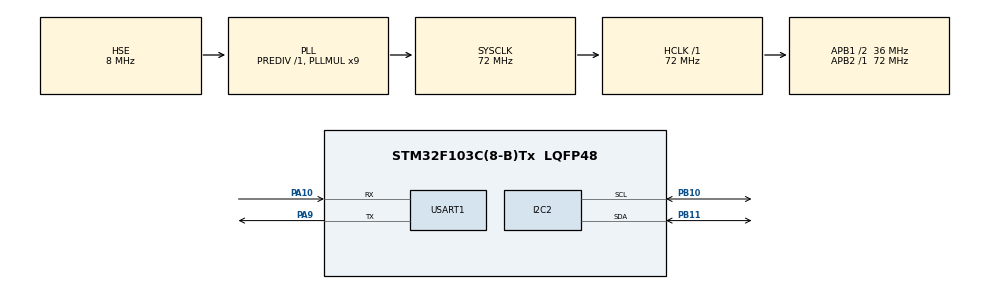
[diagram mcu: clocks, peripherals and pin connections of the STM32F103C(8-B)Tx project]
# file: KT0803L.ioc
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Mcu.Family=STM32F1
Mcu.Name=STM32F103C(8-B)Tx
Mcu.Package=LQFP48
NVIC.PriorityGroup=NVIC_PRIORITYGROUP_4
PA10.Mode=Asynchronous
PA10.Signal=USART1_RX
PA13.Mode=Serial_Wire
PA13.Signal=SYS_JTMS-SWDIO
PA14.Mode=Serial_Wire
PA14.Signal=SYS_JTCK-SWCLK
PA9.Mode=Asynchronous
PA9.Signal=USART1_TX
PB10.Mode=I2C
PB10.Signal=I2C2_SCL
PB11.Mode=I2C
PB11.Signal=I2C2_SDA
PD0-OSC_IN.Mode=HSE-External-Oscillator
PD0-OSC_IN.Signal=RCC_OSC_IN
PD1-OSC_OUT.Mode=HSE-External-Oscillator
PD1-OSC_OUT.Signal=RCC_OSC_OUT
ProjectManager.HeapSize=0x200
ProjectManager.StackSize=0x400
ProjectManager.TargetToolchain=MDK-ARM V5.32
RCC.AHBFreq_Value=72000000
RCC.APB1CLKDivider=RCC_HCLK_DIV2
RCC.APB1Freq_Value=36000000
RCC.APB1TimFreq_Value=72000000
RCC.APB2Freq_Value=72000000
RCC.APB2TimFreq_Value=72000000
RCC.HCLKFreq_Value=72000000
RCC.PLLMUL=RCC_PLL_MUL9
RCC.PLLSourceVirtual=RCC_PLLSOURCE_HSE
RCC.SYSCLKFreq_VALUE=72000000
RCC.SYSCLKSource=RCC_SYSCLKSOURCE_PLLCLK
RCC.USBFreq_Value=72000000
USART1.VirtualMode=VM_ASYNC
board=custom

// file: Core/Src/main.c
/* USER CODE BEGIN Header */
/**
  ******************************************************************************
  * @file           : main.c
  * @brief          : Main program body
  ******************************************************************************
  * @attention
  *
  * Copyright (c) 2025 STMicroelectronics.
  * All rights reserved.
  *
  * This software is licensed under terms that can be found in the LICENSE file
  * in the root directory of this software component.
  * If no LICENSE file comes with this software, it is provided AS-IS.
  *
  ******************************************************************************
  */
/* USER CODE END Header */
#include "main.h"
#include "i2c.h"
#include "usart.h"
#include "gpio.h"

/* USER CODE BEGIN Includes */
#include "ad511x.h"
#include "KT0803.h"
#include <stdio.h>
int fputc(int ch, FILE* f) {
	HAL_UART_Transmit(&huart1, (uint8_t *)&ch,1, HAL_MAX_DELAY);
	return ch;
}
/* USER CODE END Includes */

void SystemClock_Config(void);

int main(void)
{

  /* MCU Configuration--------------------------------------------------------*/

  /* Reset of all peripherals, Initializes the Flash interface and the Systick. */
  HAL_Init();

  /* Configure the system clock */
  SystemClock_Config();

  /* Initialize all configured peripherals */
  MX_GPIO_Init();
  MX_I2C2_Init();
  MX_USART1_UART_Init();

  /* Infinite loop */
  /* USER CODE BEGIN WHILE */

  // Initialize AD511x
    if (AD511x_Init() != HAL_OK) {
        printf("Failed to initialize AD511x!\n");
        Error_Handler();
    }
    printf("AD511x initialization successful!\n");

    AD511x_SoftwareShutdown(0);
    AD511x_SetWiper(63);
    AD511x_SaveToEEPROM();

    uint8_t target_value = 0;
    AD511x_ReadWiper(&target_value);

    printf("Wiper value %d saved to EEPROM successfully.\n", target_value);
    KT0803L_FREQ_SET(93.0f);

  while (1)
  {
    /* USER CODE END WHILE */

  }
}

void SystemClock_Config(void)
{
  RCC_OscInitTypeDef RCC_OscInitStruct = {0};
  RCC_ClkInitTypeDef RCC_ClkInitStruct = {0};

  /** Initializes the RCC Oscillators according to the specified parameters
  * in the RCC_OscInitTypeDef structure.
  */
  RCC_OscInitStruct.OscillatorType = RCC_OSCILLATORTYPE_HSE;
  RCC_OscInitStruct.HSEState = RCC_HSE_ON;
  RCC_OscInitStruct.HSEPredivValue = RCC_HSE_PREDIV_DIV1;
  RCC_OscInitStruct.HSIState = RCC_HSI_ON;
  RCC_OscInitStruct.PLL.PLLState = RCC_PLL_ON;
  RCC_OscInitStruct.PLL.PLLSource = RCC_PLLSOURCE_HSE;
  RCC_OscInitStruct.PLL.PLLMUL = RCC_PLL_MUL9;
  if (HAL_RCC_OscConfig(&RCC_OscInitStruct) != HAL_OK)
  {
    Error_Handler();
  }

  /** Initializes the CPU, AHB and APB buses clocks
  */
  RCC_ClkInitStruct.ClockType = RCC_CLOCKTYPE_HCLK|RCC_CLOCKTYPE_SYSCLK
                              |RCC_CLOCKTYPE_PCLK1|RCC_CLOCKTYPE_PCLK2;
  RCC_ClkInitStruct.SYSCLKSource = RCC_SYSCLKSOURCE_PLLCLK;
  RCC_ClkInitStruct.AHBCLKDivider = RCC_SYSCLK_DIV1;
  RCC_ClkInitStruct.APB1CLKDivider = RCC_HCLK_DIV2;
  RCC_ClkInitStruct.APB2CLKDivider = RCC_HCLK_DIV1;

  if (HAL_RCC_ClockConfig(&RCC_ClkInitStruct, FLASH_LATENCY_2) != HAL_OK)
  {
    Error_Handler();
  }
}

void Error_Handler(void)
{
  __disable_irq();
  while (1)
  {
  }
}
